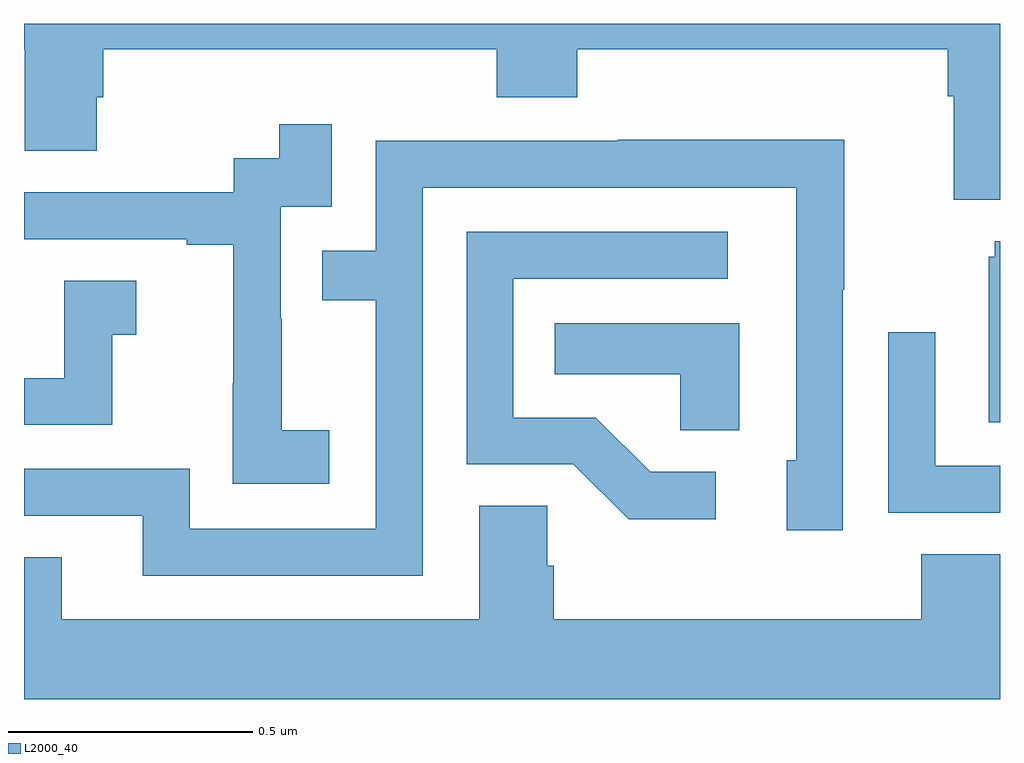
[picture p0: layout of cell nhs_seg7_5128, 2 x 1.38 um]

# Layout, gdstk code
import gdstk
lib = gdstk.Library(unit=1e-6, precision=1e-09)
def P(c, l, *ps):  # polygons
    for p in ps: c.add(gdstk.Polygon(p, *l))
L2000_40 = (2000, 40)

nhs_seg7_5128 = lib.new_cell('nhs_seg7_5128')
P(nhs_seg7_5128, L2000_40, [(184,1002),(182,1002),(182,1001.948),(182.002,1001.948),(182.002,1001.74),(182.149,1001.74),(182.149,1001.85),(182.162,1001.85),(182.162,1001.948),(182.969,1001.948),(182.969,1001.849),(183.134,1001.849),(183.134,1001.948),(183.893,1001.948),(183.893,1001.852),(183.905,1001.852),(183.905,1001.639),(184,1001.639)],
  [(182.626,1001.167),(182.528,1001.167),(182.528,1001.396),(182.526,1001.396),(182.526,1001.625),(182.631,1001.625),(182.631,1001.794),(182.523,1001.794),(182.523,1001.724),(182.43,1001.724),(182.43,1001.655),(182,1001.655),(182,1001.559),(182.333,1001.559),(182.333,1001.547),(182.429,1001.547),(182.429,1001.263),(182.428,1001.263),(182.428,1001.057),(182.626,1001.057)],
  [(182.817,1001.664),(183.582,1001.664),(183.582,1001.106),(183.563,1001.106),(183.563,1000.962),(183.678,1000.962),(183.678,1001.455),(183.681,1001.455),(183.681,1001.762),(183.217,1001.762),(183.217,1001.76),(182.721,1001.76),(182.721,1001.535),(182.611,1001.535),(182.611,1001.434),(182.721,1001.434),(182.721,1000.965),(182.34,1000.965),(182.34,1001.088),(182,1001.088),(182,1000.992),(182.243,1000.992),(182.243,1000.869),(182.817,1000.869)],
  [(183.418,1001.082),(183.283,1001.082),(183.172,1001.193),(183.003,1001.193),(183.003,1001.478),(183.442,1001.478),(183.442,1001.574),(182.907,1001.574),(182.907,1001.097),(183.126,1001.097),(183.239,1000.985),(183.418,1000.985)],
  [(184,1001.554),(183.989,1001.554),(183.989,1001.523),(183.977,1001.523),(183.977,1001.183),(184,1001.183)],
  [(182.181,1001.363),(182.23,1001.363),(182.23,1001.473),(182.082,1001.473),(182.082,1001.274),(182,1001.274),(182,1001.178),(182.181,1001.178)],
  [(183.466,1001.386),(183.088,1001.386),(183.088,1001.282),(183.345,1001.282),(183.345,1001.167),(183.466,1001.167)],
  [(184,1001.094),(183.867,1001.094),(183.867,1001.368),(183.771,1001.368),(183.771,1000.998),(184,1000.998)],
  [(184,1000.913),(183.839,1000.913),(183.839,1000.78),(183.086,1000.78),(183.086,1000.889),(183.072,1000.889),(183.072,1001.012),(182.933,1001.012),(182.933,1000.78),(182.077,1000.78),(182.077,1000.907),(182,1000.907),(182,1000.616),(184,1000.616)])

lib.write_gds('nhs_seg7_5128.gds')
